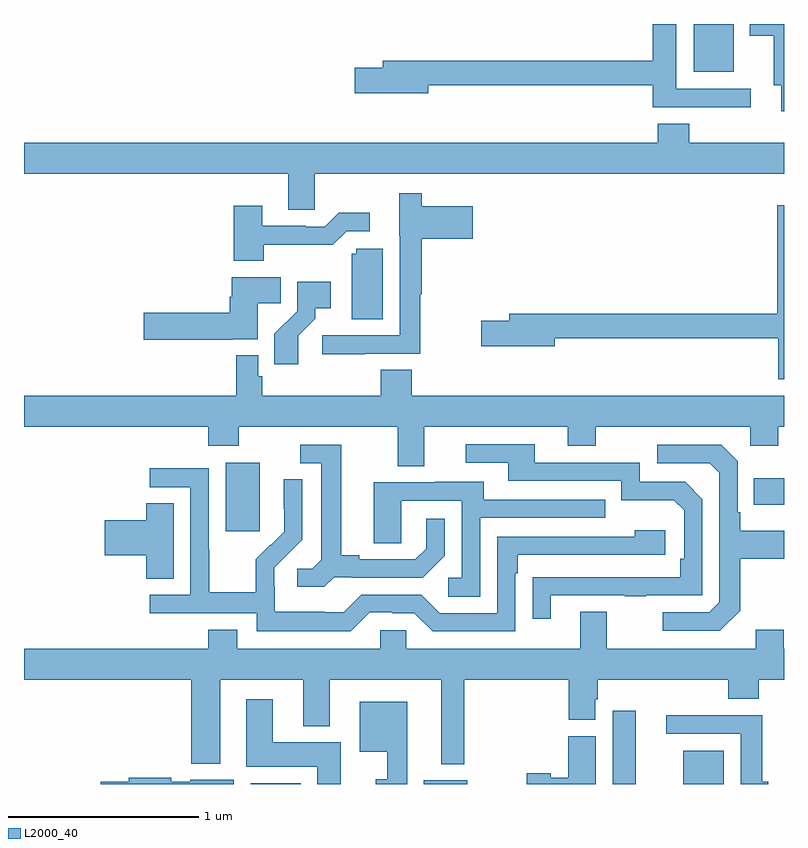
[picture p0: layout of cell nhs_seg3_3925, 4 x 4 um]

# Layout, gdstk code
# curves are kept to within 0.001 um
import gdstk
lib = gdstk.Library(unit=1e-6, precision=1e-09)
def R(c, l, rs):  # rectangles x0, y0, x1, y1
    for r in rs: c.add(gdstk.rectangle(r[:2], r[2:], *l))
def P(c, l, *ps):  # polygons
    for p in ps: c.add(gdstk.Polygon(p, *l))
L2000_40 = (2000, 40)

nhs_seg3_3925 = lib.new_cell('nhs_seg3_3925')
R(nhs_seg3_3925, L2000_40, [(316.193,668.4,316.456,668.404), (317.105,668.4,317.332,668.419), (318.098,668.4,318.22,668.785), (318.47,668.4,318.682,668.575), (316.061,669.729,316.24,670.09), (318.841,669.869,319,670.009), (318.524,672.149,318.736,672.4)])
P(nhs_seg3_3925, L2000_40, [(319,672.4),(318.821,672.4),(318.821,672.338),(318.947,672.338),(318.947,672.077),(318.986,672.077),(318.986,671.94),(319,671.94)],
  [(318.826,672.06),(318.433,672.06),(318.433,672.4),(318.308,672.4),(318.308,672.206),(316.889,672.206),(316.889,672.17),(316.74,672.17),(316.74,672.035),(317.128,672.035),(317.128,672.078),(318.308,672.078),(318.308,671.963),(318.826,671.963)],
  [(316.53,671.612),(319,671.612),(319,671.776),(318.5,671.776),(318.5,671.875),(318.335,671.875),(318.335,671.776),(315,671.776),(315,671.612),(316.391,671.612),(316.391,671.422),(316.53,671.422)],
  [(316.793,670.665),(317.086,670.665),(317.086,670.977),(317.093,670.977),(317.093,671.27),(317.362,671.27),(317.362,671.44),(317.093,671.44),(317.093,671.509),(316.976,671.509),(316.976,671.286),(316.977,671.286),(316.977,670.761),(316.569,670.761),(316.569,670.663),(316.793,670.663)],
  [(319,671.446),(318.964,671.446),(318.964,670.874),(317.555,670.874),(317.555,670.838),(317.406,670.838),(317.406,670.703),(317.794,670.703),(317.794,670.746),(318.971,670.746),(318.971,670.53),(319,670.53)],
  [(316.263,671.238),(316.625,671.237),(316.698,671.31),(316.819,671.31),(316.819,671.407),(316.657,671.407),(316.584,671.334),(316.484,671.334),(316.484,671.337),(316.255,671.337),(316.255,671.443),(316.103,671.443),(316.103,671.153),(316.263,671.153)],
  [(316.888,671.217),(316.749,671.217),(316.749,671.19),(316.724,671.19),(316.724,670.846),(316.888,670.846)],
  [(316.098,670.742),(316.231,670.742),(316.231,670.93),(316.352,670.93),(316.352,671.068),(316.094,671.068),(316.094,670.964),(316.082,670.964),(316.082,670.88),(315.63,670.88),(315.63,670.738),(316.098,670.738)],
  [(316.444,670.759),(316.534,670.849),(316.534,670.904),(316.615,670.904),(316.615,671.044),(316.437,671.044),(316.437,670.889),(316.318,670.77),(316.318,670.608),(316.444,670.608)],
  [(317.107,670.28),(317.861,670.28),(317.861,670.181),(318.009,670.181),(318.009,670.28),(318.822,670.28),(318.822,670.181),(318.969,670.181),(318.969,670.28),(319,670.28),(319,670.444),(317.042,670.444),(317.042,670.58),(316.877,670.58),(316.877,670.444),(316.253,670.444),(316.253,670.545),(316.233,670.545),(316.233,670.657),(316.117,670.657),(316.117,670.444),(315,670.444),(315,670.28),(315.971,670.28),(315.971,670.181),(316.131,670.181),(316.131,670.28),(316.967,670.28),(316.967,670.072),(317.107,670.072)],
  [(317.773,669.393),(318.163,669.393),(318.163,669.388),(318.275,669.388),(318.275,669.393),(318.57,669.393),(318.57,669.9),(318.48,669.99),(318.24,669.99),(318.24,670.092),(317.689,670.092),(317.689,670.188),(317.325,670.188),(317.325,670.092),(317.549,670.092),(317.549,669.996),(318.144,669.996),(318.144,669.893),(318.421,669.893),(318.474,669.84),(318.474,669.586),(318.454,669.586),(318.454,669.489),(317.677,669.488),(317.677,669.27),(317.773,669.27)],
  [(316.632,669.489),(316.726,669.489),(316.726,669.486),(317.098,669.486),(317.214,669.602),(317.214,669.796),(317.117,669.796),(317.117,669.639),(317.06,669.582),(316.765,669.582),(316.765,669.605),(316.669,669.605),(316.669,670.185),(316.455,670.185),(316.455,670.089),(316.565,670.089),(316.565,669.581),(316.518,669.534),(316.437,669.534),(316.437,669.437),(316.58,669.437)],
  [(318.769,669.313),(318.769,669.586),(319,669.586),(319,669.733),(318.769,669.733),(318.769,669.829),(318.756,669.829),(318.756,670.098),(318.669,670.185),(318.333,670.185),(318.333,670.089),(318.609,670.089),(318.66,670.038),(318.66,669.357),(318.606,669.303),(318.363,669.303),(318.363,669.207),(318.663,669.207)],
  [(316.821,669.303),(316.937,669.303),(316.937,669.3),(317.055,669.3),(317.151,669.204),(317.586,669.204),(317.586,669.509),(317.599,669.509),(317.599,669.606),(318.376,669.606),(318.376,669.736),(318.215,669.736),(318.215,669.702),(317.49,669.702),(317.49,669.3),(317.187,669.3),(317.091,669.396),(316.776,669.396),(316.683,669.303),(316.583,669.303),(316.583,669.307),(316.32,669.307),(316.32,669.441),(316.318,669.441),(316.318,669.538),(316.464,669.686),(316.464,670.004),(316.368,670.004),(316.368,669.85),(316.37,669.85),(316.37,669.728),(316.299,669.657),(316.296,669.66),(316.219,669.583),(316.219,669.409),(315.975,669.409),(315.975,669.632),(315.972,669.632),(315.972,670.062),(315.663,670.062),(315.663,669.963),(315.876,669.963),(315.876,669.396),(315.663,669.396),(315.663,669.3),(316.224,669.3),(316.224,669.203),(316.721,669.203)],
  [(317.4,669.801),(318.059,669.801),(318.059,669.897),(317.419,669.897),(317.419,669.991),(317.165,669.991),(317.165,669.987),(316.841,669.987),(316.841,669.667),(316.986,669.667),(316.986,669.891),(317.304,669.891),(317.304,669.486),(317.232,669.486),(317.232,669.385),(317.4,669.385)],
  [(315.787,669.878),(315.644,669.878),(315.644,669.788),(315.426,669.788),(315.426,669.605),(315.644,669.605),(315.644,669.481),(315.787,669.481)],
  [(317.317,668.948),(317.867,668.948),(317.867,668.737),(318.007,668.737),(318.007,668.847),(318.02,668.847),(318.02,668.948),(318.707,668.948),(318.707,668.849),(318.867,668.849),(318.867,668.948),(319,668.948),(319,669.112),(318.999,669.112),(318.999,669.211),(318.851,669.211),(318.851,669.112),(318.067,669.112),(318.067,669.307),(317.927,669.307),(317.927,669.112),(317.013,669.112),(317.013,669.21),(316.875,669.21),(316.875,669.112),(316.123,669.112),(316.123,669.211),(315.971,669.211),(315.971,669.112),(315,669.112),(315,668.948),(315.881,668.948),(315.881,668.507),(316.033,668.507),(316.033,668.948),(316.469,668.948),(316.469,668.705),(316.609,668.705),(316.609,668.948),(317.195,668.948),(317.195,668.504),(317.317,668.504)],
  [(316.666,668.62),(316.309,668.62),(316.309,668.845),(316.169,668.845),(316.169,668.492),(316.544,668.492),(316.544,668.4),(316.666,668.4)],
  [(317.017,668.833),(316.766,668.833),(316.766,668.57),(316.913,668.57),(316.913,668.425),(316.85,668.425),(316.85,668.4),(317.017,668.4)],
  [(318.916,668.413),(318.886,668.413),(318.886,668.762),(318.381,668.762),(318.381,668.664),(318.773,668.664),(318.773,668.4),(318.916,668.4)],
  [(318.01,668.652),(317.864,668.652),(317.864,668.433),(317.772,668.433),(317.772,668.456),(317.647,668.456),(317.647,668.4),(318.01,668.4)],
  [(316.105,668.422),(315.876,668.422),(315.876,668.412),(315.776,668.412),(315.776,668.432),(315.55,668.432),(315.55,668.412),(315.404,668.412),(315.404,668.4),(316.105,668.4)])

lib.write_gds('nhs_seg3_3925.gds')
